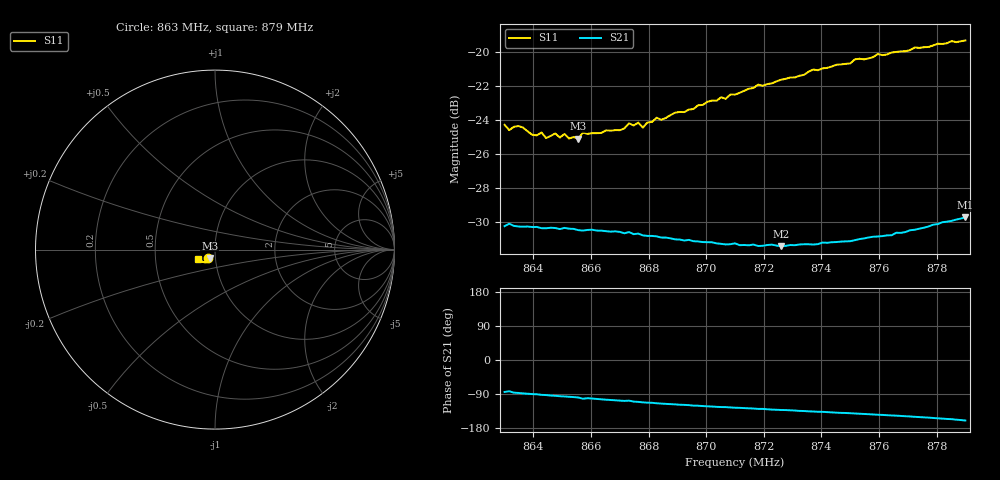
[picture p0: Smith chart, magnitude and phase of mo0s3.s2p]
# HZ S RI R 50
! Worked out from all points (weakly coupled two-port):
!   101 points, 863 MHz to 879 MHz, reference 50 ohm
!   highest |S21| = -29.70 dB at 879 MHz (marker M1); lowest = -31.4 dB at 872.6 MHz (marker M2)
!   lowest |S11| = -25.1 dB at 865.56 MHz (marker M3), VSWR 1.12, Z = 46.9 - j4.46 ohm
!   |S11| at or under -10 dB: start of sweep to end of sweep
!   S12 and S22 are empty: the file has one direction only
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8.63e8  -0.0414 -0.045  0.00305 -0.0307  0 0  0 0
8.6316e8  -0.0355 -0.0471  0.00413 -0.0311  0 0  0 0
8.6348e8  -0.0404 -0.0452  0.00165 -0.0307  0 0  0 0
8.6396e8  -0.0352 -0.045  1.6e-05 -0.0307  0 0  0 0
8.6428e8  -0.0343 -0.0469  -0.00104 -0.0304  0 0  0 0
8.6444e8  -0.0336 -0.0446  -0.00136 -0.0304  0 0  0 0
8.6476e8  -0.0324 -0.0477  -0.00239 -0.0304  0 0  0 0
8.6492e8  -0.0313 -0.0466  -0.00294 -0.0301  0 0  0 0
8.6508e8  -0.032 -0.0478  -0.00331 -0.0303  0 0  0 0
8.6556e8  -0.0294 -0.0473  -0.00469 -0.0296  0 0  0 0
8.6572e8  -0.0298 -0.0498  -0.00636 -0.0292  0 0  0 0
8.67e8  -0.0278 -0.052  -0.00876 -0.0283  0 0  0 0
8.6732e8  -0.0283 -0.0549  -0.00878 -0.0283  0 0  0 0
8.6764e8  -0.0291 -0.0548  -0.0103 -0.0275  0 0  0 0
8.678e8  -0.0276 -0.0532  -0.0107 -0.0269  0 0  0 0
8.6828e8  -0.0283 -0.0576  -0.0118 -0.0262  0 0  0 0
8.6844e8  -0.0284 -0.0565  -0.0121 -0.0259  0 0  0 0
8.71e8  -0.0357 -0.0659  -0.0161 -0.0222  0 0  0 0
8.726e8  -0.045 -0.0696  -0.018 -0.02  0 0  0 0
8.7372e8  -0.0522 -0.0718  -0.0196 -0.019  0 0  0 0
8.7644e8  -0.0739 -0.0668  -0.0242 -0.0161  0 0  0 0
8.79e8  -0.0956 -0.0505  -0.0307 -0.0113  0 0  0 0
